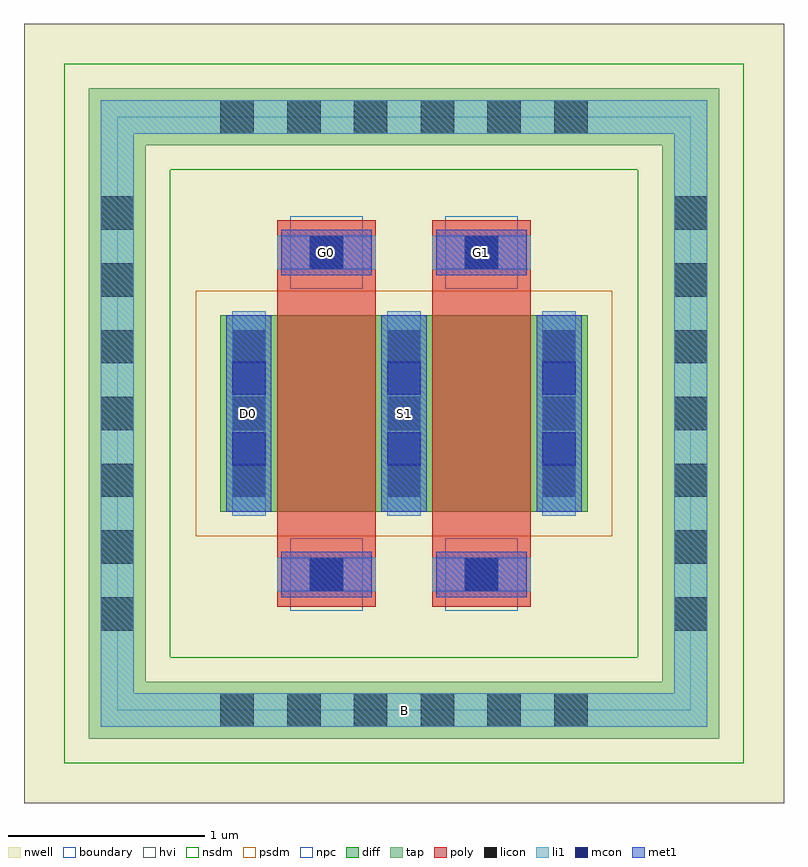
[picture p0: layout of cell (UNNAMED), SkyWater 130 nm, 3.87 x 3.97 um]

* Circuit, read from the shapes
.subckt (UNNAMED) B D0 G0 G1 S1
XM1 S1 G0 D0 B sky130_fd_pr__pfet_g5v0d10v5 w=1 l=0.5
XM2 n1 G1 S1 B sky130_fd_pr__pfet_g5v0d10v5 w=1 l=0.5
.ends

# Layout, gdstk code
import gdstk
lib = gdstk.Library(unit=1e-6, precision=1e-09)
def R(c, l, rs):  # rectangles x0, y0, x1, y1
    for r in rs: c.add(gdstk.rectangle(r[:2], r[2:], *l))
def A(c, l, x, y, w, h, nx, ny, dx, dy):  # array of equal rectangles
    R(c, l, [(x+i*dx, y+j*dy, x+i*dx+w, y+j*dy+h) for i in range(nx) for j in range(ny)])
nwell = (64, 20)
diff = (65, 20)
tap = (65, 44)
poly = (66, 20)
licon = (66, 44)
li1 = (67, 20)
mcon = (67, 44)
met1 = (68, 20)
hvi = (75, 20)
nsdm = (93, 44)
psdm = (94, 20)
npc = (95, 20)
boundary = (235, 4)

c__unnamed_ = lib.new_cell('(UNNAMED)')
R(c__unnamed_, nwell, [(-1.935,-1.985,1.935,1.985)])
R(c__unnamed_, diff, [(-0.935,-0.5,0.935,0.5)])
R(c__unnamed_, tap, [(-1.605,-1.655,1.605,-1.365), (-1.605,-1.365,-1.315,1.365), (1.315,-1.365,1.605,1.365), (-1.605,1.365,1.605,1.655)])
R(c__unnamed_, poly, [(-0.645,-0.985,-0.145,0.985), (0.145,-0.985,0.645,0.985)])
A(c__unnamed_, licon, -0.935, -1.595, 0.17, 0.17, 6, 2, 0.34, 3.02)
A(c__unnamed_, licon, -1.545, -1.105, 0.17, 0.17, 1, 7, 0, 0.34)
A(c__unnamed_, licon, 1.375, -1.105, 0.17, 0.17, 1, 7, 0, 0.34)
A(c__unnamed_, licon, -0.875, -0.425, 0.17, 0.17, 3, 3, 0.79, 0.34)
R(c__unnamed_, licon, [(-0.48,-0.905,-0.31,-0.735), (0.31,-0.905,0.48,-0.735), (-0.48,0.735,-0.31,0.905), (0.31,0.735,0.48,0.905)])
A(c__unnamed_, li1, -0.875, -0.52, 0.17, 1.04, 3, 1, 0.79, 0)
R(c__unnamed_, li1, [(-1.545,-1.595,1.545,-1.425), (-1.545,-1.425,-1.375,1.425), (1.375,-1.425,1.545,1.425), (-0.645,-0.905,-0.145,-0.735), (0.145,-0.905,0.645,-0.735), (-0.645,0.735,-0.145,0.905), (0.145,0.735,0.645,0.905), (-1.545,1.425,1.545,1.595)])
A(c__unnamed_, mcon, -0.875, -0.265, 0.17, 0.17, 3, 2, 0.79, 0.36)
R(c__unnamed_, mcon, [(-0.48,-0.905,-0.31,-0.735), (0.31,-0.905,0.48,-0.735), (-0.48,0.735,-0.31,0.905), (0.31,0.735,0.48,0.905)])
A(c__unnamed_, met1, -0.905, -0.5, 0.23, 1, 3, 1, 0.79, 0)
R(c__unnamed_, met1, [(-0.625,-0.935,-0.165,-0.705), (0.165,-0.935,0.625,-0.705), (-0.625,0.705,-0.165,0.935), (0.165,0.705,0.625,0.935)])
R(c__unnamed_, hvi, [(-1.935,-1.985,1.935,1.985)])
R(c__unnamed_, nsdm, [(-1.73,-1.78,1.73,-1.24), (-1.73,-1.24,-1.19,1.24), (1.19,-1.24,1.73,1.24), (-1.73,1.24,1.73,1.78)])
R(c__unnamed_, psdm, [(-1.06,-0.625,1.06,0.625)])
R(c__unnamed_, npc, [(-0.58,-1.005,-0.21,-0.635), (0.21,-1.005,0.58,-0.635), (-0.58,0.635,-0.21,1.005), (0.21,0.635,0.58,1.005)])
R(c__unnamed_, boundary, [(-1.46,-1.51,1.46,1.51)])
c__unnamed_.add(gdstk.Label('B', (0,-1.51), layer=67, texttype=5))
c__unnamed_.add(gdstk.Label('D0', (-0.79,0), layer=67, texttype=5))
c__unnamed_.add(gdstk.Label('G0', (-0.395,0.82), layer=67, texttype=5))
c__unnamed_.add(gdstk.Label('S1', (0,0), layer=67, texttype=5))
c__unnamed_.add(gdstk.Label('G1', (0.395,0.82), layer=67, texttype=5))

lib.write_gds('_UNNAMED_.gds')
